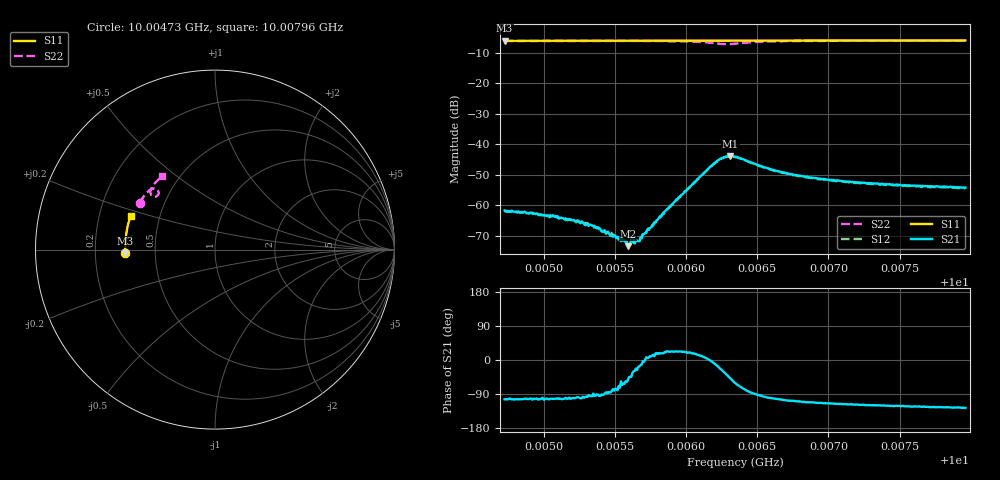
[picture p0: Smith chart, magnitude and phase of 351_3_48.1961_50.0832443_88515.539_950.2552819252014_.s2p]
#  HZ  S  RI  R  50.00
! Rohde & Schwarz Vector Network Analyzer
! Rohde-Schwarz,ZNB20-2Port,1311601062101988,3.16
! Created: UTC 3/20/2024, 11:51:48 AM
! freq[Hz]  re:S11  im:S11  re:S21  im:S21  re:S12  im:S12  re:S22  im:S22
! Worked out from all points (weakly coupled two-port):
!   401 points, 10.00473 GHz to 10.00796 GHz, reference 50 ohm
!   highest |S21| = -43.86 dB at 10.00631 GHz (marker M1); lowest = -73.5 dB at 10.00559 GHz (marker M2)
!   lowest |S11| = -6.0 dB at 10.00473 GHz (marker M3), VSWR 2.99, Z = 16.7 - j0.887 ohm
!   |S11| at or under -10 dB: nowhere
!   |S22| runs from -7.1 to -6.0 dB; largest |S21 - S12| = 0.00036
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1.0004725e10  -0.4986 -0.0199  -0.000192 -0.000796  -0.000156 -0.000797  -0.4186 0.2613
1.0005081e10  -0.4997 0.00317  -0.000136 -0.000642  -0.000101 -0.000653  -0.406 0.2825
1.0005267e10  -0.5001 0.0152  -9.89e-05 -0.000533  -4.89e-05 -0.000508  -0.3988 0.2934
1.0005308e10  -0.5 0.0179  -6e-05 -0.000466  -4.67e-05 -0.000508  -0.3971 0.296
1.0005372e10  -0.4999 0.022  -4.15e-06 -0.000434  -1.05e-05 -0.000415  -0.3942 0.2999
1.0005453e10  -0.4998 0.0273  3.51e-05 -0.000362  3.15e-05 -0.000343  -0.3907 0.3047
1.0005486e10  -0.4998 0.0294  6.8e-05 -0.000298  5.24e-05 -0.000326  -0.3892 0.3066
1.0005526e10  -0.4997 0.0319  0.000104 -0.000264  0.000101 -0.00025  -0.3871 0.3091
1.0005567e10  -0.4995 0.0347  0.00012 -0.000236  0.000128 -0.000208  -0.3851 0.3115
1.0005591e10  -0.4996 0.0363  0.000128 -0.000169  0.000147 -0.000174  -0.3839 0.3131
1.0005623e10  -0.4995 0.0383  0.000227 -0.000151  0.000218 -0.000137  -0.382 0.3152
1.0005672e10  -0.4992 0.0415  0.000244 -7.44e-05  0.000248 -5.77e-05  -0.3795 0.3182
1.000581e10  -0.4986 0.0505  0.000592 0.000196  0.000552 0.000186  -0.3704 0.3269
1.0005915e10  -0.4981 0.0572  0.00104 0.00041  0.001 0.000443  -0.3615 0.3334
1.0006182e10  -0.4961 0.0743  0.00451 -0.000375  0.00441 -0.000153  -0.3195 0.3313
1.0006255e10  -0.4953 0.0788  0.0053 -0.00277  0.00533 -0.0025  -0.3147 0.31
1.0006311e10  -0.4948 0.0822  0.0042 -0.00485  0.00431 -0.00455  -0.3274 0.2958
1.0006344e10  -0.4948 0.0841  0.00309 -0.00546  0.00333 -0.00519  -0.3375 0.2942
1.0006611e10  -0.4924 0.1013  -0.000734 -0.00372  -0.000553 -0.00368  -0.3587 0.3319
1.0006886e10  -0.4893 0.1188  -0.00104 -0.00261  -0.000925 -0.00261  -0.3469 0.3554
1.0007428e10  -0.4809 0.1528  -0.00113 -0.00191  -0.000998 -0.00189  -0.32 0.386
1.0007962e10  -0.4703 0.1854  -0.00116 -0.00156  -0.00104 -0.00156  -0.2927 0.4101
